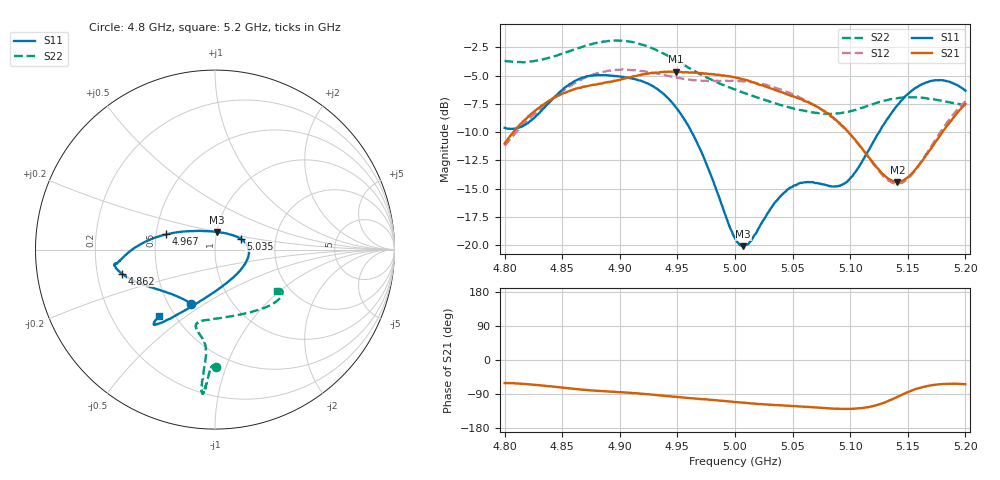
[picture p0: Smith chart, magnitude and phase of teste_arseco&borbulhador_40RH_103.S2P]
! Network Analyzer HP8722D
! Hewlett-Packard
! Data name: Linha & Wilkinson
! Saver's name: Rodrigo Anjos
! Comments: Teste da utilização de aquisição
! continua pelo VNA HP8722D
! Time and date: 15/4/2025 17:12
!  Frequency  S11  S21  S12  S22
# HZ  S  MA R 50
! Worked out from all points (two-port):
!   401 points, 4.8 GHz to 5.2 GHz, reference 50 ohm
!   highest |S21| = -4.63 dB at 4.949 GHz (marker M1); lowest = -14.4 dB at 5.141 GHz (marker M2)
!   |S21| within 3 dB of the highest: 4.832 GHz to 5.069 GHz (237 MHz wide, 4.79 % of centre); 5.198614 GHz to end of sweep
!   lowest |S11| = -20.1 dB at 5.007 GHz (marker M3), VSWR 1.22, Z = 50.1 + j9.95 ohm
!   |S11| at or under -10 dB: 4.962 GHz to 5.125 GHz (162.6 MHz wide, 3.22 % of centre)
!   |S22| runs from -8.4 to -1.9 dB; largest |S21 - S12| = 0.88
!   S11 on the Smith chart (normalised r, x): 4.8 GHz: 0.65, -0.44; 4.862 GHz: 0.31, -0.11; 4.967 GHz: 0.57, +0.10; 5.035 GHz: 1.32, +0.17; 5.2 GHz: 0.41, -0.40
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4.8e9  0.3307 -113.6  0.2813 -60.8  0.2752 -174.9  0.6542 -89.5
4.819e9  0.3443 -133.4  0.3639 -63.6  0.3519 -173.2  0.6484 -91.1
4.862e9  0.5357 -165.6  0.4932 -76.6  0.5255 -176.3  0.7398 -93.6
4.867e9  0.5497 -167.5  0.5 -78.1  0.5418 -177.2  0.7547 -93.7
4.9e9  0.558 -172.1  0.5394 -84.7  0.5974 176.1  0.8033 -95.1
4.934e9  0.4848 -177.9  0.5806 -93.1  0.5743 172.0  0.7199 -95.6
4.949e9  0.4059 175.1  0.5867 -97.3  0.5528 172.3  0.657 -95.3
4.967e9  0.2847 162.6  0.5797 -102.0  0.5349 174.1  0.5814 -94.9
5e9  0.1074 107.5  0.5524 -110.9  0.5338 176.6  0.4885 -99.2
5.007e9  0.09898 84.0  0.5411 -112.6  0.5298 176.6  0.4731 -100.9
5.014e9  0.1047 61.9  0.529 -114.7  0.5271 176.4  0.4611 -102.5
5.035e9  0.1549 23.3  0.4843 -118.9  0.498 175.2  0.4243 -104.0
5.05e9  0.1817 7.4  0.4572 -121.5  0.4646 174.7  0.4042 -100.2
5.067e9  0.1899 -11.0  0.4204 -124.6  0.4228 174.1  0.3867 -91.9
5.087e9  0.1818 -43.4  0.3602 -128.4  0.3586 173.9  0.3826 -77.0
5.097e9  0.1903 -64.6  0.3219 -129.0  0.3203 174.3  0.3886 -68.6
5.134e9  0.3728 -115.8  0.1958 -106.9  0.1919 -159.7  0.4414 -43.4
5.141e9  0.4165 -119.9  0.1906 -97.2  0.187 -148.8  0.4474 -40.2
5.153e9  0.481 -124.7  0.2063 -81.1  0.2038 -130.2  0.4514 -35.9
5.17e9  0.5327 -128.4  0.2672 -66.9  0.2722 -113.0  0.4445 -32.0
5.185e9  0.5304 -129.8  0.3415 -63.1  0.3536 -106.9  0.4303 -31.1
5.2e9  0.483 -130.2  0.4219 -63.9  0.4339 -106.0  0.4155 -33.4
